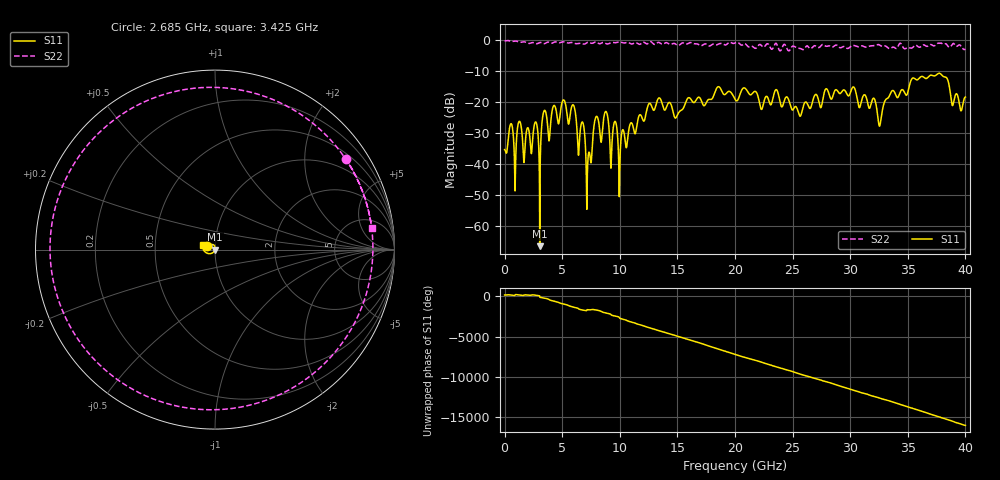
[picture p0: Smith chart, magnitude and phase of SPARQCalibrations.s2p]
# MHz MA S R 50.0
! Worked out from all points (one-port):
!   8000 points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, 5 MHz to 40 GHz, reference 50 ohm
!   lowest |S11| = -66.4 dB at 3.05 GHz (marker M1), VSWR 1.00, Z = 50 + j0.0391 ohm
!   |S11| at or under -10 dB: start of sweep to end of sweep
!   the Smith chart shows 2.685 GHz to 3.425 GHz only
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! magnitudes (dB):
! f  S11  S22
! 5 MHz  -35.2  -0.2
! 1.295 GHz  -26.1  -0.6
! 1.695 GHz  -39.2  -0.5
! 2.715 GHz  -26.4  -1.1
! 3.05 GHz  -66.4  -0.8
! 3.435 GHz  -22.7  -1.1
! 5.105 GHz  -19.2  -0.5
! 6.675 GHz  -26.7  -1.0
! 7.28 GHz  -36.7  -0.6
! 7.965 GHz  -24.6  -0.6
! 8.835 GHz  -23.1  -1.1
! 9.245 GHz  -40.8  -0.8
! 9.615 GHz  -26.2  -0.8
! 9.99 GHz  -43.4  -0.6
! 13.34 GHz  -18.8  -0.7
! 20 GHz  -19.0  -0.9
! 26.67 GHz  -20.7  -2.5
! 30.28 GHz  -15.0  -1.6
! 32.56 GHz  -27.7  -1.6
! 33.34 GHz  -18.4  -2.6
! 37.72 GHz  -10.6  -1.0
! 40 GHz  -18.3  -2.8
